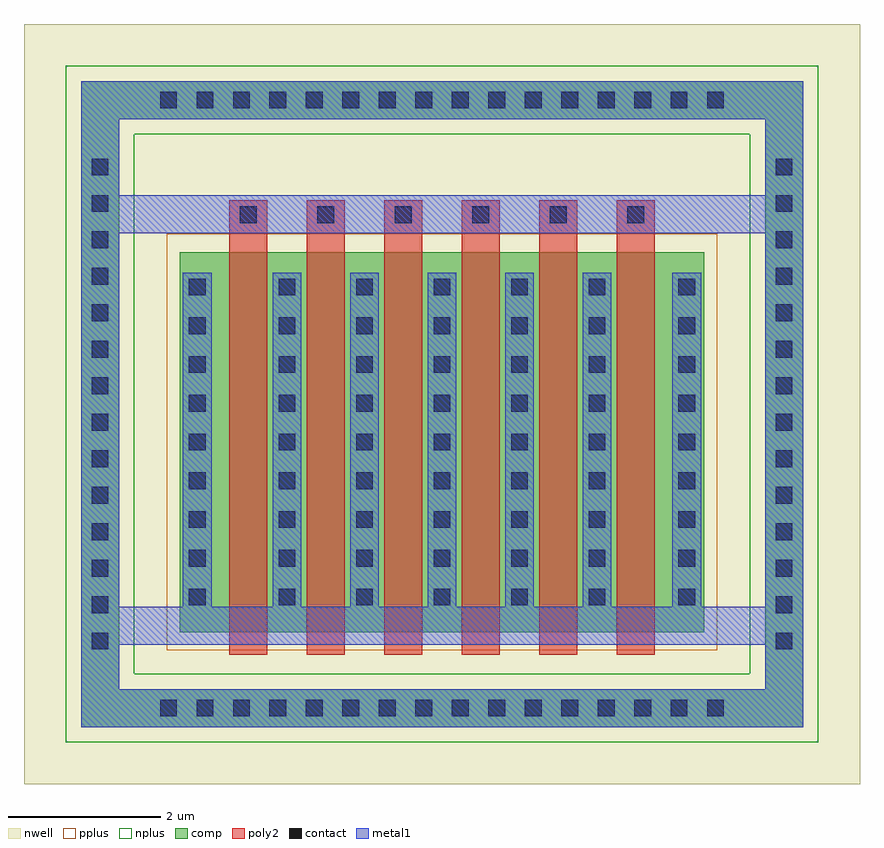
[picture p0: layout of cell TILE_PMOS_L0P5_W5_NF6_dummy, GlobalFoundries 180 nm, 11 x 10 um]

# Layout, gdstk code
import gdstk
lib = gdstk.Library(unit=1e-6, precision=1e-09)
def R(c, l, rs):  # rectangles x0, y0, x1, y1
    for r in rs: c.add(gdstk.rectangle(r[:2], r[2:], *l))
def A(c, l, x, y, w, h, nx, ny, dx, dy):  # array of equal rectangles
    R(c, l, [(x+i*dx, y+j*dy, x+i*dx+w, y+j*dy+h) for i in range(nx) for j in range(ny)])
nwell = (21, 0)
comp = (22, 0)
poly2 = (30, 0)
pplus = (31, 0)
nplus = (32, 0)
contact = (33, 0)
metal1 = (34, 0)

via_dev = lib.new_cell('via_dev')

via_dev_6 = lib.new_cell('via_dev$6')
R(via_dev_6, comp, [(0,0,0.5,7)])
A(via_dev_6, contact, 0.14, 0.27, 0.22, 0.22, 1, 14, 0, 0.48)
R(via_dev_6, metal1, [(0,0,0.5,7)])

via_dev_7 = lib.new_cell('via_dev$7')
R(via_dev_7, comp, [(0,0,8,0.5)])
A(via_dev_7, contact, 0.29, 0.14, 0.22, 0.22, 16, 1, 0.48, 0)
R(via_dev_7, metal1, [(0,0,8,0.5)])

pfet = lib.new_cell('pfet')
R(pfet, nwell, [(-0.9,-0.44,6.88,5.44)])
R(pfet, comp, [(-0.46,0,0,5), (0,0,5.98,5), (5.98,0,6.44,5)])
A(pfet, poly2, 0.19, -0.3, 0.5, 5.6, 6, 1, 1.02, 0)
A(pfet, poly2, 0.19, 5.3, 0.5, 0.38, 6, 1, 1.02, 0)
R(pfet, pplus, [(-0.63,-0.24,6.61,5.24)])
A(pfet, contact, -0.34, 0.35, 0.22, 0.22, 1, 9, 0, 0.51)
A(pfet, contact, 0.84, 0.35, 0.22, 0.22, 5, 9, 1.02, 0.51)
A(pfet, contact, 6.1, 0.35, 0.22, 0.22, 1, 9, 0, 0.51)
A(pfet, contact, 0.33, 5.38, 0.22, 0.22, 6, 1, 1.02, 0)
A(pfet, metal1, 0.76, 0.27, 0.38, 4.46, 5, 1, 1.02, 0)
A(pfet, metal1, 0.25, 5.299, 0.38, 0.382, 6, 1, 1.02, 0)
R(pfet, metal1, [(-0.42,0.27,-0.04,4.73), (6.02,0.27,6.4,4.73)])

tile_pmos_l0p5_w5_nf6_du = lib.new_cell('TILE_PMOS_L0P5_W5_NF6_dummy')
R(tile_pmos_l0p5_w5_nf6_du, nwell, [(-5.5,-1,5.5,9)])
tile_pmos_l0p5_w5_nf6_du.add(gdstk.FlexPath([(-4.5,1.08),(4.5,1.08)], 0.5, ends="flush", simple_path=True, layer=34, datatype=0))  # metal1
tile_pmos_l0p5_w5_nf6_du.add(gdstk.FlexPath([(-4.5,6.5),(4.5,6.5)], 0.5, ends="flush", simple_path=True, layer=34, datatype=0))  # metal1
tile_pmos_l0p5_w5_nf6_du.add(gdstk.FlexPath([(-4.5,8.25),(-4.5,-0.25)], 0.5, ends="flush", simple_path=True, layer=34, datatype=0))  # metal1
tile_pmos_l0p5_w5_nf6_du.add(gdstk.FlexPath([(4.5,8.25),(4.5,-0.25)], 0.5, ends="flush", simple_path=True, layer=34, datatype=0))  # metal1
tile_pmos_l0p5_w5_nf6_du.add(gdstk.FlexPath([(-4.75,8),(4.75,8)], 0.5, ends="flush", simple_path=True, layer=34, datatype=0))  # metal1
tile_pmos_l0p5_w5_nf6_du.add(gdstk.FlexPath([(-4.75,0),(4.75,0)], 0.5, ends="flush", simple_path=True, layer=34, datatype=0))  # metal1
tile_pmos_l0p5_w5_nf6_du.add(gdstk.FlexPath([(4.5,8.25),(4.5,-0.25)], 0.5, ends="flush", simple_path=True, layer=22, datatype=0))  # comp
tile_pmos_l0p5_w5_nf6_du.add(gdstk.FlexPath([(-4.5,8.25),(-4.5,-0.25)], 0.5, ends="flush", simple_path=True, layer=22, datatype=0))  # comp
tile_pmos_l0p5_w5_nf6_du.add(gdstk.FlexPath([(-4.75,8),(4.75,8)], 0.5, ends="flush", simple_path=True, layer=22, datatype=0))  # comp
tile_pmos_l0p5_w5_nf6_du.add(gdstk.FlexPath([(-4.75,0),(4.75,0)], 0.5, ends="flush", simple_path=True, layer=22, datatype=0))  # comp
tile_pmos_l0p5_w5_nf6_du.add(gdstk.FlexPath([(-4.95,0),(4.95,0)], 0.9, ends="flush", simple_path=True, layer=32, datatype=0))  # nplus
tile_pmos_l0p5_w5_nf6_du.add(gdstk.FlexPath([(-4.95,8),(4.95,8)], 0.9, ends="flush", simple_path=True, layer=32, datatype=0))  # nplus
tile_pmos_l0p5_w5_nf6_du.add(gdstk.FlexPath([(4.5,0),(4.5,8)], 0.9, ends="flush", simple_path=True, layer=32, datatype=0))  # nplus
tile_pmos_l0p5_w5_nf6_du.add(gdstk.FlexPath([(-4.5,0),(-4.5,8)], 0.9, ends="flush", simple_path=True, layer=32, datatype=0))  # nplus
tile_pmos_l0p5_w5_nf6_du.add(gdstk.Reference(via_dev, (-0.62,-0.915)))
tile_pmos_l0p5_w5_nf6_du.add(gdstk.Reference(via_dev_6, (-4.75,0.5)))
tile_pmos_l0p5_w5_nf6_du.add(gdstk.Reference(via_dev_6, (4.25,0.5)))
tile_pmos_l0p5_w5_nf6_du.add(gdstk.Reference(via_dev_7, (-4,-0.25)))
tile_pmos_l0p5_w5_nf6_du.add(gdstk.Reference(pfet, (-2.99,1)))
tile_pmos_l0p5_w5_nf6_du.add(gdstk.Reference(via_dev_7, (-4,7.75)))

lib.write_gds('TILE_PMOS_L0P5_W5_NF6_dummy.gds')
